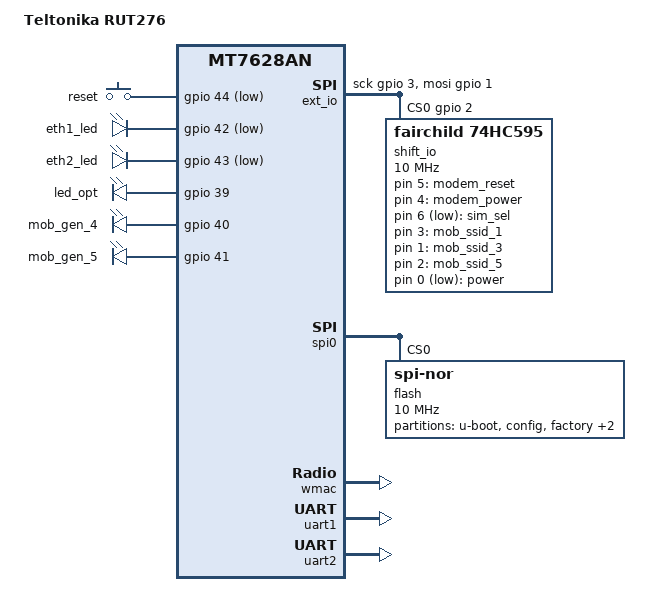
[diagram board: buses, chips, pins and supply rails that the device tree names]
// SPDX-License-Identifier: GPL-2.0-or-later OR MIT
/dts-v1/;

#include <dt-bindings/input/input.h>
#include <dt-bindings/gpio/gpio.h>
#include "mt7628an.dtsi"
#include "platform_name.dtsi"

/ {
	compatible = "teltonika,rut276", "teltonika,rute", "mediatek,mt7628an-soc";
	model = "Teltonika RUT276";

	chosen {
		bootargs = "console=ttyS0,115200 root=/dev/mtdblock5 is_full_hwver=1";
	};

	ext_io {
		compatible = "spi-gpio";
		#address-cells = <1>;
		#size-cells = <0>;

		gpio-sck = <&gpio 3 GPIO_ACTIVE_HIGH>;  // SRCLK
		gpio-mosi = <&gpio 1 GPIO_ACTIVE_HIGH>; // SER
		cs-gpios = <&gpio 2 GPIO_ACTIVE_HIGH>;  // RCLK
		num-chipselects = <1>;

		shift_io: shift_io@0 {
			compatible = "fairchild,74hc595";
			reg = <0>;
			gpio-controller;
			#gpio-cells = <2>;
			registers-number = <1>;
			spi-max-frequency = <10000000>;
		};
	};

	gpio-export {
		compatible = "gpio-export";
		#size-cells = <0>;

		gpio_modem_reset {
			gpio-export,name = "modem_reset";
			gpio-export,output = <0>;
			gpios = <&shift_io 5 GPIO_ACTIVE_HIGH>;
		};

		gpio_modem_power {
			gpio-export,name = "modem_power";
			gpio-export,output = <0>;
			gpios = <&shift_io 4 GPIO_ACTIVE_HIGH>;
		};

		gpio_sim_select {
			gpio-export,name = "sim_sel";
			gpio-export,output = <0>;
			gpios = <&shift_io 6 GPIO_ACTIVE_LOW>;
		};
	};

	keys {
		compatible = "gpio-keys";

		reset {
			label = "reset";
			gpios = <&gpio 44 GPIO_ACTIVE_LOW>;
			linux,code = <KEY_RESTART>;
		};
	};

	leds {
		compatible = "gpio-leds";

		eth1_led {
			label = "eth1_led";
			gpios = <&gpio 42 GPIO_ACTIVE_LOW>;
		};

		eth2_led {
			label = "eth2_led";
			gpios = <&gpio 43 GPIO_ACTIVE_LOW>;
		};

		led_opt { // Assembled but not used, must be kept in dts to not shine
			label = "led_opt";
			gpios = <&gpio 39 GPIO_ACTIVE_HIGH>;
		};

		led_gen_4 {
			label = "mob_gen_4";
			gpios = <&gpio 40 GPIO_ACTIVE_HIGH>;
		};

		led_gen_5 {
			label = "mob_gen_5";
			gpios = <&gpio 41 GPIO_ACTIVE_HIGH>;
		};

		led_ssid_1 {
			label = "mob_ssid_1";
			gpios = <&shift_io 3 GPIO_ACTIVE_HIGH>;
			linux,default-trigger = "timer";
		};

		led_ssid_3 {
			label = "mob_ssid_3";
			gpios = <&shift_io 1 GPIO_ACTIVE_HIGH>;
			linux,default-trigger = "timer";
		};

		led_ssid_5 {
			label = "mob_ssid_5";
			gpios = <&shift_io 2 GPIO_ACTIVE_HIGH>;
			linux,default-trigger = "timer";
		};

		led_power {
			label = "power";
			gpios = <&shift_io 0 GPIO_ACTIVE_LOW>;
			default-state = "on";
			retain-state-shutdown;
		};

	};

	tlt_gpios { // Modify according to wiki page "DTS syntax with Libgpiod changes"
		gpiochip_info {
			hw_0 {
				hwver = <0>;
				gpiochip_count = <4>;

				gpiochip_0 = <32>; // Built-in
				gpiochip_1 = <32>; // Built-in
				gpiochip_2 = <32>; // Built-in
				gpiochip_3 = <8>; // Shift Register
			};
		};

		misc {
			GPIO_101 {
				line_name = "GPIO_MODEM_RESET_1";
			};
			GPIO_100 {
				line_name = "GPIO_MODEM_POWER_1";
			};
			GPIO_102 {
				line_name = "GPIO_SIM_SELECT";
				active_low;
			};
		};
	};
};

&mnfinfo {
	simpin1 {
		default = "";
		sec;
	};

	simpin2 {
		default = "";
		sec;
	};

	sim_cfg {
		default = "2111000_2112000";
	};

	sim_count {
		default =  "2";
	};

	blver {
		reg = <&boot 0x3f000 0xa>;
		trailling-data;
	};
};

&state_default {
	gpio {
		groups = "i2s", "p4led_an", "p3led_an", "p2led_an", "p1led_an", "p0led_an", "gpio", "wled_an", "perst";
		function = "gpio";
	};
};

&spi0 {
	status = "okay";

	flash@0 {
		compatible = "jedec,spi-nor";
		reg = <0>;
		spi-max-frequency = <10000000>;

		partitions {
			compatible = "fixed-partitions";
			#address-cells = <1>;
			#size-cells = <1>;

			boot: partition@0 {
				label = "u-boot";
				reg = <0x0 0x40000>;
				read-only;
			};

			config: partition@40000 {
				compatible = "nvmem-cells";
				#address-cells = <1>;
				#size-cells = <1>;

				label = "config";
				reg = <0x040000 0x010000>;
				read-only;

				macaddr_config_0: macaddr@0 {
					reg = <0x0 0x6>;
				};
			};

			factory: partition@50000 {
				label = "factory";
				reg = <0x050000 0x030000>;
				read-only;
			};

			partition@80000 {
				label = "firmware";
				reg = <0x080000 0x1ED0000>;
			};

			partition@1f50000 {
				label = "event-log";
				reg = <0x1F50000 0xB0000>;
			};
		};
	};
};

&wmac {
	status = "okay";
	nvmem-cells = <&macaddr_config_0>;
	nvmem-cell-names = "mac-address";
	mac-address-increment = <2>;
	mediatek,mtd-eeprom = <&factory 0x20000>;
};

&ethernet {
	nvmem-cells = <&macaddr_config_0>;
	nvmem-cell-names = "mac-address";
};

&esw {
	mediatek,portmap = <0x3e>;
};

&uart1 {
	status = "okay";
};

&uart2 {
	status = "okay";
};
